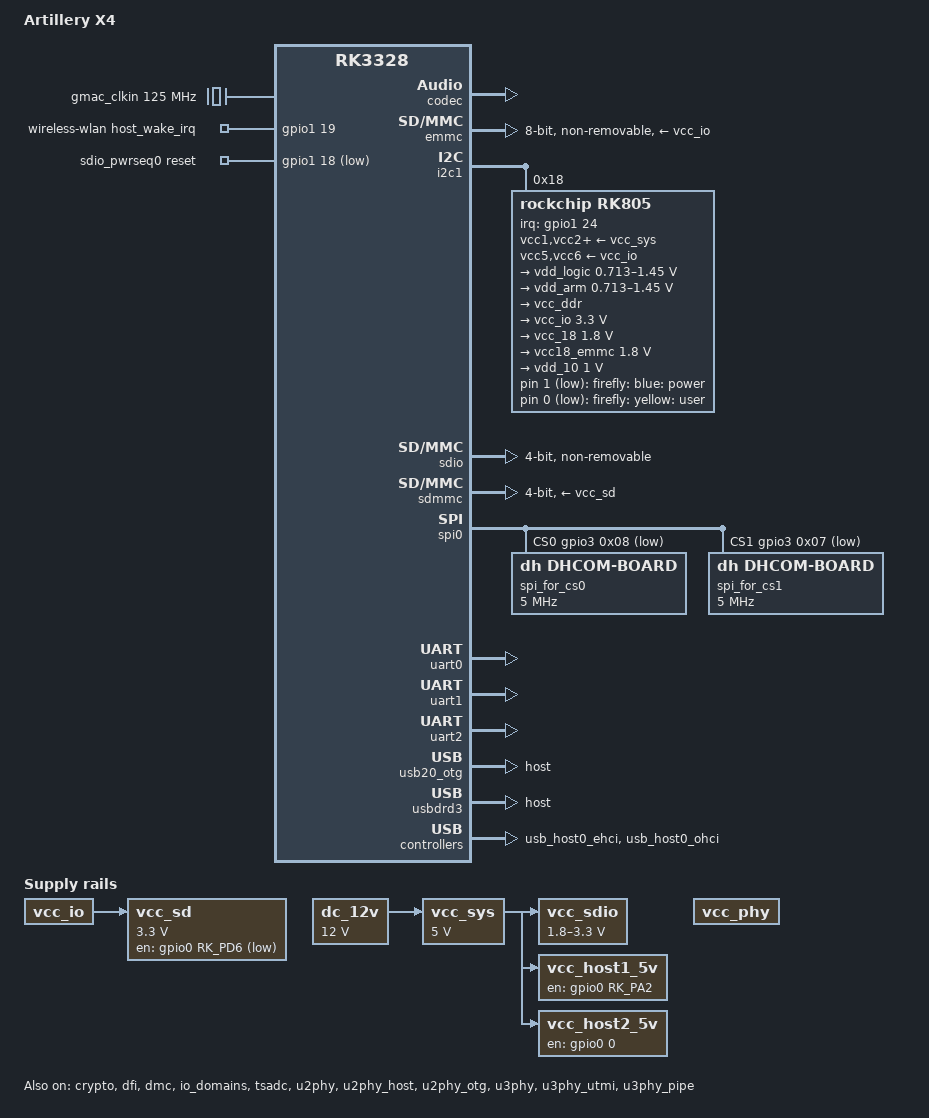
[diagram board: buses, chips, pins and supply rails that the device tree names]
// SPDX-License-Identifier: (GPL-2.0+ OR MIT)
// TODO: uart0: serial@ff110000
// makerbase: missing third pin (rts), not referenced elsewhere
// TODO: uart1: serial@ff120000
// makerbase missing 2nd & 3rd pin!
// TODO: DCDC_REG1 different values
// TODO: DCDC_REG2 regulator-ramp-delay set
// TODO: spi@ff190000 differnt configuration
// TODO: DMC settings
// TODO: HDMI ports???
// TODO: other USB3 interrupts?
// TODO: the SPI seems to connect to the display tsc2046?
// TODO: verify SPI settings
// TODO: pinctrl differences
/*
 * Copyright (c) 2017 T-Chip Intelligent Technology Co., Ltd
 */

/dts-v1/;
#include "rk3328-dram-renegade-timing.dtsi"
#include "rk3328.dtsi"

/ {
	model = "Artillery X4";
	compatible = "firefly,roc-rk3328-cc", "rockchip,rk3328";

	aliases {
		mmc0 = &sdmmc;
		mmc1 = &emmc;
	};

	chosen {
		stdout-path = "serial2: 1500000n8";
	};

	/delete-node/ dmc-opp-table;
	dmc_opp_table: dmc-opp-table {
		compatible = "operating-points-v2";

		opp-786000000 {
			opp-hz = /bits/ 64 <786000000>;
			opp-microvolt = <1075000 1075000 12000000>;
			status = "disabled";
		};
		opp-798000000 {
			opp-hz = /bits/ 64 <798000000>;
			opp-microvolt = <1075000 1075000 12000000>;
			status = "disabled";
		};
		opp-840000000 {
			opp-hz = /bits/ 64 <840000000>;
			opp-microvolt = <1075000 1075000 12000000>;
			status = "disabled";
		};
		opp-924000000 {
			opp-hz = /bits/ 64 <924000000>;
			opp-microvolt = <1100000 1100000 12000000>;
		};
		opp-1068000000 {
			opp-hz = /bits/ 64 <1068000000>;
			opp-microvolt = <1175000 1175000 12000000>;
		};
	};

	gmac_clkin: external-gmac-clock {
		compatible = "fixed-clock";
		clock-frequency = <125000000>;
		clock-output-names = "gmac_clkin";
		#clock-cells = <0>;
	};

	dc_12v: dc-12v {
		compatible = "regulator-fixed";
		regulator-name = "dc_12v";
		regulator-always-on;
		regulator-boot-on;
		regulator-min-microvolt = <12000000>;
		regulator-max-microvolt = <12000000>;
	};

	vcc_sd: sdmmc-regulator {
		compatible = "regulator-fixed";
		gpio = <&gpio0 RK_PD6 GPIO_ACTIVE_LOW>;
		pinctrl-names = "default";
		pinctrl-0 = <&sdmmc0m1_pin>;
		regulator-boot-on;
		regulator-name = "vcc_sd";
		regulator-min-microvolt = <3300000>;
		regulator-max-microvolt = <3300000>;
		vin-supply = <&vcc_io>;
	};

	vcc_sdio: sdmmcio-regulator {
		compatible = "regulator-gpio";
		gpios = <&gpio2 20 GPIO_ACTIVE_HIGH>;
		pinctrl-0 = <&sdio_vcc_pin>;
		pinctrl-names = "default";
		states = <1800000 0x0>,
				 <3300000 0x1>;
		regulator-name = "vcc_sdio";
		regulator-type = "voltage";
		regulator-min-microvolt = <1800000>;
		regulator-max-microvolt = <3300000>;
		regulator-always-on;
		vin-supply = <&vcc_sys>;
	};

	vcc_host1_5v: vcc_otg_5v: vcc-host1-5v-regulator {
		compatible = "regulator-fixed";
		enable-active-high;
		gpio = <&gpio0 RK_PA2 GPIO_ACTIVE_HIGH>;
		pinctrl-names = "default";
		pinctrl-0 = <&usb20_host_drv>;
		regulator-name = "vcc_host1_5v";
		regulator-always-on;
		vin-supply = <&vcc_sys>;
	};

	vcc_host2_5v: vcc-host2-5v-regulator {
		compatible = "regulator-fixed";
		enable-active-high;
		gpio = <&gpio0 0 GPIO_ACTIVE_HIGH>;
		pinctrl-names = "default";
		pinctrl-0 = <&usb30_host_drv>;
		regulator-name = "vcc_host2_5v";
		regulator-always-on;
		vin-supply = <&vcc_sys>;
	};


	vcc_sys: vcc-sys {
		compatible = "regulator-fixed";
		regulator-name = "vcc_sys";
		regulator-always-on;
		regulator-boot-on;
		regulator-min-microvolt = <5000000>;
		regulator-max-microvolt = <5000000>;
		vin-supply = <&dc_12v>;
	};

	wireless-wlan {
		compatible = "wlan-platdata";
		rockchip,grf = <&grf>;
		sdio_vref = <3300>;
		status = "okay";
		WIFI,host_wake_irq = <&gpio1 19 IRQ_TYPE_NONE>;
		wifi_chip_type = "ap6212";
	};

	sdio_pwrseq0: sdio-pwrseq0 {
		compatible = "mmc-pwrseq-simple";
		pinctrl-names = "default";
		pinctrl-0 = <&wifi_enable_h>;
		reset-gpios = <&gpio1 18 GPIO_ACTIVE_LOW>;
	};


	vcc_phy: vcc-phy-regulator {
		compatible = "regulator-fixed";
		regulator-name = "vcc_phy";
		regulator-always-on;
		regulator-boot-on;
	};

	leds {
		compatible = "gpio-leds";

		power_led: led-0 {
			label = "firefly: blue: power";
			linux,default-trigger = "heartbeat";
			gpios = <&rk805 1 GPIO_ACTIVE_LOW>;
			default-state = "on";
		};

		user_led: led-1 {
			label = "firefly: yellow: user";
			linux,default-trigger = "mmc1";
			gpios = <&rk805 0 GPIO_ACTIVE_LOW>;
			default-state = "off";
		};
	};
};

&analog_sound {
	status = "disabled";
};

&codec {
	status = "okay";
};

&crypto {
	status = "okay";
};


&dfi {
	status = "okay";
};

&dmc {
	center-supply = <&vdd_logic>;
	ddr_timing = <&ddr_timing>;
	status = "okay";
};


&cpu0 {
	cpu-supply = <&vdd_arm>;
};

&cpu1 {
	cpu-supply = <&vdd_arm>;
};

&cpu2 {
	cpu-supply = <&vdd_arm>;
};

&cpu3 {
	cpu-supply = <&vdd_arm>;
};

&emmc {
	bus-width = <8>;
	cap-mmc-highspeed;
	max-frequency = <150000000>;
	mmc-ddr-1_8v;
	mmc-hs200-1_8v;
	non-removable;
	pinctrl-names = "default";
	pinctrl-0 = <&emmc_clk &emmc_cmd &emmc_bus8>;
	vmmc-supply = <&vcc_io>;
	vqmmc-supply = <&vcc18_emmc>;
	status = "okay";
};

&gmac2io {
	assigned-clocks = <&cru SCLK_MAC2IO>, <&cru SCLK_MAC2IO_EXT>;
	assigned-clock-parents = <&gmac_clkin>, <&gmac_clkin>;
	clock_in_out = "input";
	phy-supply = <&vcc_phy>;
	phy-mode = "rgmii";
	pinctrl-names = "default";
	pinctrl-0 = <&rgmiim1_pins>;
	snps,aal;
	snps,reset-gpio = <&gpio1 RK_PC2 GPIO_ACTIVE_LOW>;
	snps,reset-active-low;
	snps,reset-delays-us = <0 10000 50000>;
	snps,rxpbl = <0x4>;
	snps,txpbl = <0x4>;
	tx_delay = <0x24>;
	rx_delay = <0x18>;
	status = "disabled";
};

&gmac2phy {
	status = "disabled";
	phy-supply = <&vcc_phy>;
	assigned-clocks = <&cru SCLK_MAC2PHY>;
	assigned-clock-rate = <0x2faf080>;
	assigned-clock-parents = <&cru SCLK_MAC2PHY_SRC>;
};

&gpio2 {
	gpio-line-names = "",
	                  "",
	                  "",
	                  "",
	                  "",
	                  "",
	                  "",
	                  "",
	                  "",
	                  "",
	                  "",
	                  "",
	                  "",
	                  "",
	                  "",
	                  "gentry_led_bar";
};

&gpu {
	mali-supply = <&vdd_logic>;
};

&hdmi {
	//status = "okay";
	status = "disabled";
	ports {
		hdmi_in: port {
			// reg = <0>;

			hdmi_in_vop: endpoint {
				remote-endpoint = <&vop_out_hdmi>;
			};
		};
		/delete-node/ port@0;
		/delete-node/ port@1;
	};
};

&hdmiphy {
	// status = "okay";
	status = "disabled";

};

&hdmi_sound {
	//status = "okay";
	status = "disabled";
};

&i2c1 {
	status = "okay";

	rk805: pmic@18 {
		compatible = "rockchip,rk805";
		reg = <0x18>;
		interrupt-parent = <&gpio1>;
		interrupts = <24 IRQ_TYPE_LEVEL_LOW>;
		#clock-cells = <1>;
		clock-output-names = "xin32k", "rk805-clkout2";
		gpio-controller;
		#gpio-cells = <2>;
		pinctrl-names = "default";
		pinctrl-0 = <&pmic_int_l>;
		rockchip,system-power-controller;
		wakeup-source;

		vcc1-supply = <&vcc_sys>;
		vcc2-supply = <&vcc_sys>;
		vcc3-supply = <&vcc_sys>;
		vcc4-supply = <&vcc_sys>;
		vcc5-supply = <&vcc_io>;
		vcc6-supply = <&vcc_io>;

		regulators {
			vdd_logic: DCDC_REG1 {
				regulator-name = "vdd_logic";
				regulator-min-microvolt = <712500>;
				regulator-max-microvolt = <1450000>;
				regulator-always-on;
				regulator-boot-on;
				regulator-state-mem {
					regulator-on-in-suspend;
					regulator-suspend-microvolt = <1000000>;
				};
			};

			vdd_arm: DCDC_REG2 {
				regulator-name = "vdd_arm";
				regulator-min-microvolt = <712500>;
				regulator-max-microvolt = <1450000>;
				regulator-always-on;
				regulator-boot-on;
				regulator-state-mem {
					regulator-on-in-suspend;
					regulator-suspend-microvolt = <950000>;
				};
			};

			vcc_ddr: DCDC_REG3 {
				regulator-name = "vcc_ddr";
				regulator-always-on;
				regulator-boot-on;
				regulator-state-mem {
					regulator-on-in-suspend;
				};
			};

			vcc_io: DCDC_REG4 {
				regulator-name = "vcc_io";
				regulator-min-microvolt = <3300000>;
				regulator-max-microvolt = <3300000>;
				regulator-always-on;
				regulator-boot-on;
				regulator-state-mem {
					regulator-on-in-suspend;
					regulator-suspend-microvolt = <3300000>;
				};
			};

			vcc_18: LDO_REG1 {
				regulator-name = "vcc_18";
				regulator-min-microvolt = <1800000>;
				regulator-max-microvolt = <1800000>;
				regulator-always-on;
				regulator-boot-on;
				regulator-state-mem {
					regulator-on-in-suspend;
					regulator-suspend-microvolt = <1800000>;
				};
			};

			vcc18_emmc: LDO_REG2 {
				regulator-name = "vcc18_emmc";
				regulator-min-microvolt = <1800000>;
				regulator-max-microvolt = <1800000>;
				regulator-always-on;
				regulator-boot-on;
				regulator-state-mem {
					regulator-on-in-suspend;
					regulator-suspend-microvolt = <1800000>;
				};
			};

			vdd_10: LDO_REG3 {
				regulator-name = "vdd_10";
				regulator-min-microvolt = <1000000>;
				regulator-max-microvolt = <1000000>;
				regulator-always-on;
				regulator-boot-on;
				regulator-state-mem {
					regulator-on-in-suspend;
					regulator-suspend-microvolt = <1000000>;
				};
			};
		};
	};
};

&i2s0 {
	status = "disabled";
};

&i2s1 {
	status = "disabled";
};

&io_domains {
	status = "okay";

	vccio1-supply = <&vcc_io>;
	vccio2-supply = <&vcc18_emmc>;
	vccio3-supply = <&vcc_sdio>;
	vccio4-supply = <&vcc_io>;
	vccio5-supply = <&vcc_io>;
	vccio6-supply = <&vcc_io>;
	pmuio-supply = <&vcc_io>;
};

&pinctrl {

	//TODO: mks compatibility
	// ir {
		//     ir_int: ir-int {
			//         rockchip,pins = <2 RK_PA2 RK_FUNC_GPIO &pcfg_pull_none>;
		//     };
	// };
	//TODO: mks has rt here

	rtc {
		rtc-32k {
			rockchip,pins = <1 28 RK_FUNC_GPIO &pcfg_pull_none>;
		};
	};

	pmic {
		pmic_int_l: pmic-int-l {
			//TODO mks compatibility
			//rockchip,pins = <1 RK_PD0 RK_FUNC_GPIO &pcfg_pull_up>;
			rockchip,pins = <2 6 RK_FUNC_GPIO &pcfg_pull_up>;

		};
	};

	usb2 {
		usb20_host_drv: usb20-host-drv {
			//TODO mks compatibility
			//rockchip,pins = <1 RK_PD2 RK_FUNC_GPIO &pcfg_pull_none>;
			rockchip,pins = <0 RK_PA2 RK_FUNC_GPIO &pcfg_pull_none>;
		};
	};

	//remaining pins defined by mks
	usb3 {
		usb30_host_drv: usb30-host-drv {
			rockchip,pins = <0 0 0  &pcfg_pull_none>;
		};
	};

	sd {
		sdio_vcc_pin: sdio-vcc-pin {
			rockchip,pins = <2 20 0 &pcfg_pull_up>;
		};
	};

	spi0_cs1 {
		pinctrl_spi0_cs1: pinctrl-spi0-cs1 {
			rockchip,pins = <3 7 0 &pcfg_pull_up>;
		};
	};

	sdio_pwrseq: sdio-pwrseq {
		wifi_enable_h: wifi-enable-h {
			rockchip,pins = <1 18 0 &pcfg_pull_none>;
		};
	};

	wireless-wlan {
		wifi-wake-host {
			rockchip,pins = <1 19 0 &pcfg_pull_up>;
		};
	};

	spi0_cs0 {
		pinctrl_spi0_cs0: pinctrl-spi0-cs0  {
			rockchip,pins = <3 8 0 &pcfg_pull_up>;
		};
	};
};

&rga {
	status = "disabled";
};

&sdio {
	pinctrl-0 = <&sdmmc1_bus4>, <&sdmmc1_clk>,  <&sdmmc1_cmd>;
	pinctrl-names = "default";
	interrupts = <GIC_SPI 13 IRQ_TYPE_LEVEL_HIGH>;
	clocks = <&cru HCLK_SDIO>,
	         <&cru SCLK_SDIO>,
	         <&cru SCLK_SDIO_DRV>,
	         <&cru SCLK_SDIO_SAMPLE>;
	clock-names = "biu", "ciu", "ciu-drive", "ciu-sample";
	resets = <&cru SRST_SDIO>;
	reset-names = "reset";
	fifo-depth = <0x100>;
	max-frequency = <150000000>;
	status = "okay";
	cap-sd-highspeed;
	cap-sdio-irq;
	non-removable;
	bus-width = <0x04>;
	mmc-pwrseq = <&sdio_pwrseq0>;
};

&sdmmc {
	bus-width = <4>;
	cap-mmc-highspeed;
	cap-sd-highspeed;
	disable-wp;
	max-frequency = <150000000>;
	pinctrl-names = "default";
	pinctrl-0 = <&sdmmc0_clk &sdmmc0_cmd &sdmmc0_dectn &sdmmc0_bus4>;
	sd-uhs-sdr12;
	sd-uhs-sdr25;
	sd-uhs-sdr50;
	sd-uhs-sdr104;
	vmmc-supply = <&vcc_sd>;
	vqmmc-supply = <&vcc_sdio>;
	status = "okay";
};

&spdif {
	pinctrl-0 = <&spdifm0_tx>;
	status = "disabled";
};

&spdif_out {
	status = "disabled";
};

&spdif_sound {
	status = "disabled";
};

&spi0 {
	pinctrl-0 = <&spi0m2_clk>, <&spi0m2_tx>, <&spi0m2_rx>;
	status = "okay";
	#gpio-cells = <0x02>;
	max-freq = <0x2dc6c00>;
	cs-gpios = <&gpio3 0x08 GPIO_ACTIVE_LOW>, <&gpio3 0x07 GPIO_ACTIVE_LOW>;

	spi_for_cs0@0 {
		reg = <0x00>;
		compatible = "dh,dhcom-board";
		pinctrl-names = "default";
		pinctrl-0 = <&pinctrl_spi0_cs0>;
		spi-max-frequency = <0x4c4b40>;
		status = "okay";
	};

	spi_for_cs1@1 {
		reg = <0x01>;
		compatible = "dh,dhcom-board";
		pinctrl-names = "default";
		pinctrl-0 = <&pinctrl_spi0_cs1>;
		spi-max-frequency = <0x4c4b40>;
		status = "okay";
	};
};

&tsadc {
	status = "okay";
};

&u2phy {
	status = "okay";
};

&u2phy_host {
	status = "okay";
};

&u2phy_otg {
	status = "okay";
};

&uart0 {
	status = "okay";
	//TODO: override for mks
	pinctrl-0 = <&uart0_xfer>, <&uart0_cts>;
};

&uart1 {
	status = "okay";
	//TODO override for mks
	pinctrl-0 = <&uart1_xfer>;

};

&uart2 {
	status = "okay";
};

&usb20_otg {
	dr_mode = "host";
	status = "okay";
};

&u3phy {
	status = "okay";
};

&u3phy_utmi {
	status = "okay";
};

&u3phy_pipe {
	status = "okay";
};


&usbdrd3 {
	dr_mode = "host";
	status = "okay";
};

&usb_host0_ehci {
	status = "okay";
};

&usb_host0_ohci {
	status = "okay";
};

&vop {
	status = "disabled";
};

&vop_mmu {
	status = "disabled";
};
